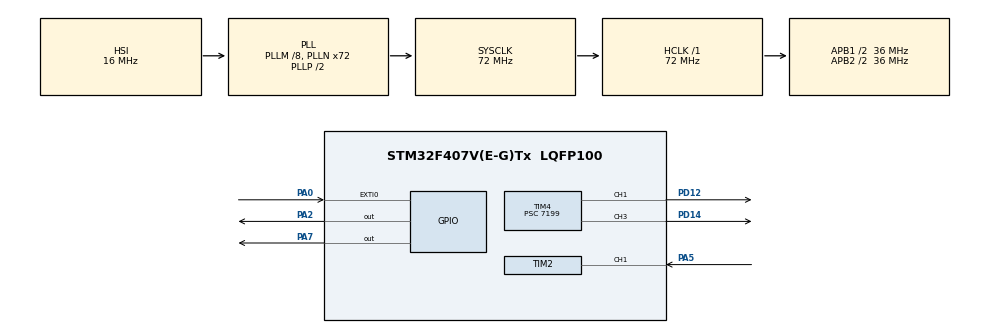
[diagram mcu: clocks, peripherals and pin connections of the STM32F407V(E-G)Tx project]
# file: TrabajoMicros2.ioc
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ADC1.Channel-0\#ChannelRegularConversion=ADC_CHANNEL_TEMPSENSOR
ADC1.ContinuousConvMode=DISABLE
ADC1.NbrOfConversionFlag=1
ADC1.Rank-0\#ChannelRegularConversion=1
ADC1.Resolution=ADC_RESOLUTION_8B
ADC1.SamplingTime-0\#ChannelRegularConversion=ADC_SAMPLETIME_3CYCLES
ADC1.ScanConvMode=DISABLE
ADC1.master=1
Mcu.Family=STM32F4
Mcu.Name=STM32F407V(E-G)Tx
Mcu.Package=LQFP100
NVIC.EXTI0_IRQn=true\:0\:0\:false\:false\:true\:true\:true\:true
NVIC.PriorityGroup=NVIC_PRIORITYGROUP_0
NVIC.TIM2_IRQn=true\:0\:0\:false\:false\:true\:true\:true\:true
PA0-WKUP.Signal=GPXTI0
PA2.Signal=GPIO_Output
PA5.Signal=S_TIM2_CH1_ETR
PA7.Signal=GPIO_Output
PD12.Signal=S_TIM4_CH1
PD14.Signal=S_TIM4_CH3
PH0-OSC_IN.Mode=HSE-External-Oscillator
PH0-OSC_IN.Signal=RCC_OSC_IN
PH1-OSC_OUT.Mode=HSE-External-Oscillator
PH1-OSC_OUT.Signal=RCC_OSC_OUT
ProjectManager.HeapSize=0x200
ProjectManager.StackSize=0x400
ProjectManager.TargetToolchain=STM32CubeIDE
RCC.48MHZClocksFreq_Value=20571428.57142857
RCC.AHBFreq_Value=72000000
RCC.APB1CLKDivider=RCC_HCLK_DIV2
RCC.APB1Freq_Value=36000000
RCC.APB1TimFreq_Value=72000000
RCC.APB2CLKDivider=RCC_HCLK_DIV2
RCC.APB2Freq_Value=36000000
RCC.APB2TimFreq_Value=72000000
RCC.CortexFreq_Value=72000000
RCC.HCLKFreq_Value=72000000
RCC.HSE_VALUE=8000000
RCC.HSI_VALUE=16000000
RCC.LSE_VALUE=32768
RCC.PLLM=8
RCC.PLLN=72
RCC.PLLQ=7
RCC.SYSCLKFreq_VALUE=72000000
RCC.SYSCLKSource=RCC_SYSCLKSOURCE_PLLCLK
RCC.VCOOutputFreq_Value=144000000
SH.S_TIM2_CH1_ETR.0=TIM2_CH1,Input_Capture1_from_TI1
SH.S_TIM4_CH1.0=TIM4_CH1,PWM Generation1 CH1
SH.S_TIM4_CH3.0=TIM4_CH3,PWM Generation3 CH3
TIM2.Channel-Input_Capture1_from_TI1=TIM_CHANNEL_1
TIM2.Period=19999
TIM2.Prescaler=71
TIM4.Channel-PWM\ Generation1\ CH1=TIM_CHANNEL_1
TIM4.Channel-PWM\ Generation3\ CH3=TIM_CHANNEL_3
TIM4.Period=9999
TIM4.Prescaler=7199
VP_ADC1_TempSens_Input.Mode=IN-TempSens
board=STM32F407G-DISC1

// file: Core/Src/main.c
/* USER CODE BEGIN Header */
/**
  ******************************************************************************
  * @file           : main.c
  * @brief          : Main program body
  ******************************************************************************
  * @attention
  *
  * Copyright (c) 2022 STMicroelectronics.
  * All rights reserved.
  *
  * This software is licensed under terms that can be found in the LICENSE file
  * in the root directory of this software component.
  * If no LICENSE file comes with this software, it is provided AS-IS.
  *
  ******************************************************************************
  */
/* USER CODE END Header */
#include "main.h"

ADC_HandleTypeDef hadc1;

TIM_HandleTypeDef htim2;
TIM_HandleTypeDef htim4;

void SystemClock_Config(void);
static void MX_GPIO_Init(void);
static void MX_TIM4_Init(void);
static void MX_TIM2_Init(void);
static void MX_ADC1_Init(void);

/* USER CODE BEGIN 0 */

//Variables globales del sensor ultrasonidos.
uint32_t IC_Val1 = 0;
uint32_t IC_Val2 = 0;
uint32_t Difference = 0;
uint8_t Is_First_Captured = 0;
uint8_t Distance  = 0;
int encendido=0;
uint32_t ten=0;

//Variables globales interrupción.
volatile int boton=0;

//Variables para la temperatura.
volatile uint32_t adcvalue;
float temp=0;

//Necesario para la lectura del sensor ultrasonidos. Con HalDelay se detiene
//Función para hacer el delay en el ultrasonidos.
void delay (uint16_t time)
{
	__HAL_TIM_SET_COUNTER(&htim2, 0);
	while (__HAL_TIM_GET_COUNTER (&htim2) < time);
}

//Código del funcionamiento del HC-SR04.
void HAL_TIM_IC_CaptureCallback(TIM_HandleTypeDef *htim) {
	if (htim->Channel == HAL_TIM_ACTIVE_CHANNEL_1)
	{
		if (Is_First_Captured==0)
		{
			IC_Val1 = HAL_TIM_ReadCapturedValue(htim, TIM_CHANNEL_1); //lee el primer valor
			Is_First_Captured = 1;  // selecciona la primera captura
			__HAL_TIM_SET_CAPTUREPOLARITY(htim, TIM_CHANNEL_1, TIM_INPUTCHANNELPOLARITY_FALLING);
		}

		else if (Is_First_Captured==1)   // si ha leido el primer valor
		{
			IC_Val2 = HAL_TIM_ReadCapturedValue(htim, TIM_CHANNEL_1);  // lee el segundo valor
			__HAL_TIM_SET_COUNTER(htim, 0);  // reset the counter

			if (IC_Val2 > IC_Val1)
			{
				Difference = IC_Val2-IC_Val1;
			}

			else if (IC_Val1 > IC_Val2)
			{
				Difference = (0xffff - IC_Val1) + IC_Val2;
			}

			Distance = Difference * .034/2;//conversion a centimetros
			Is_First_Captured = 0;
			__HAL_TIM_SET_CAPTUREPOLARITY(htim, TIM_CHANNEL_1, TIM_INPUTCHANNELPOLARITY_RISING);
			__HAL_TIM_DISABLE_IT(&htim2, TIM_IT_CC1);
		}
	}
}

//Función de lectura del ultrasonidos
void HCSR04_Read (void)
{
	HAL_GPIO_WritePin(GPIOA, GPIO_PIN_2, GPIO_PIN_SET); //Se envia pulso a la patilla trig del ultrasonidos
	delay(5);
	HAL_GPIO_WritePin(GPIOA, GPIO_PIN_2, GPIO_PIN_RESET);

	__HAL_TIM_ENABLE_IT(&htim2, TIM_IT_CC1);
}

void HAL_GPIO_EXTI_Callback(uint16_t GPIO_Pin){

	if (GPIO_Pin==GPIO_PIN_0)
	{
		boton=1;
	}
}

int debouncer(volatile int* button, GPIO_TypeDef* GPIO_port, uint16_t GPIO_number){
	static uint8_t button_count=0;
	static int cuenta=0;

	if (*button==1){
		if (button_count==0) {
			cuenta=HAL_GetTick();
			button_count++;
		}
		if (HAL_GetTick()-cuenta>=20){
			cuenta=HAL_GetTick();
			if (HAL_GPIO_ReadPin(GPIO_port, GPIO_number)!=1){
				button_count=1;
			}
			else{
				button_count++;
			}
			if (button_count==4){
				button_count=0;
				*button=0;
				return 1;
			}
		}

	}
	return 0;
}
/* USER CODE END 0 */

int main(void)
{

  /* MCU Configuration--------------------------------------------------------*/

  /* Reset of all peripherals, Initializes the Flash interface and the Systick. */
  HAL_Init();

  /* Configure the system clock */
  SystemClock_Config();

  /* Initialize all configured peripherals */
  MX_GPIO_Init();
  MX_TIM4_Init();
  MX_TIM2_Init();
  MX_ADC1_Init();
  /* USER CODE BEGIN 2 */
  HAL_TIM_IC_Start_IT(&htim2, TIM_CHANNEL_1);
  HAL_TIM_PWM_Start(&htim4, TIM_CHANNEL_1);
  HAL_TIM_PWM_Start(&htim4, TIM_CHANNEL_3);
  //HAL_ADC_Start(&hadc1);
  /* USER CODE END 2 */

  /* Infinite loop */
  while (1)
  {

    /* USER CODE BEGIN 3 */
	  HCSR04_Read(); //Lee el valor del ultrasonidos
	  HAL_Delay(100);

	  if(Distance<10)
	  {
		  ten=HAL_GetTick();
	  	   __HAL_TIM_SET_COMPARE(&htim4, TIM_CHANNEL_1, 9999);
	  	  //encendido=1;
	  }
	  else if((HAL_GetTick()-ten)>10000){
		   __HAL_TIM_SET_COMPARE(&htim4, TIM_CHANNEL_1, 0);
	  }
	  if (debouncer(&boton, GPIOA, GPIO_PIN_0)){
		  encendido=1;
	  	  HAL_GPIO_TogglePin(GPIOA, GPIO_PIN_7);
	  }
	  HAL_ADC_Start(&hadc1);
	  if(HAL_ADC_PollForConversion(&hadc1, HAL_MAX_DELAY) == HAL_OK)
	  {
	  	  adcvalue=HAL_ADC_GetValue(&hadc1);
	  	  //La temperatura la hemos convertido de Fahrenheit a Celsius.
	  	  temp=(((float)adcvalue)-32)/1.8;
	  }
	  //Lo hemos puesto a 20 para no subir demasiado la temperatura y no dañar la placa.
	  	  if(temp>20)
	  	  __HAL_TIM_SET_COMPARE(&htim4, TIM_CHANNEL_3, 6666);
	  	  else
	  	  __HAL_TIM_SET_COMPARE(&htim4, TIM_CHANNEL_3, 0);

  }
  /* USER CODE END 3 */
}

void SystemClock_Config(void)
{
  RCC_OscInitTypeDef RCC_OscInitStruct = {0};
  RCC_ClkInitTypeDef RCC_ClkInitStruct = {0};

  /** Configure the main internal regulator output voltage
  */
  __HAL_RCC_PWR_CLK_ENABLE();
  __HAL_PWR_VOLTAGESCALING_CONFIG(PWR_REGULATOR_VOLTAGE_SCALE1);

  /** Initializes the RCC Oscillators according to the specified parameters
  * in the RCC_OscInitTypeDef structure.
  */
  RCC_OscInitStruct.OscillatorType = RCC_OSCILLATORTYPE_HSI;
  RCC_OscInitStruct.HSIState = RCC_HSI_ON;
  RCC_OscInitStruct.HSICalibrationValue = RCC_HSICALIBRATION_DEFAULT;
  RCC_OscInitStruct.PLL.PLLState = RCC_PLL_ON;
  RCC_OscInitStruct.PLL.PLLSource = RCC_PLLSOURCE_HSI;
  RCC_OscInitStruct.PLL.PLLM = 8;
  RCC_OscInitStruct.PLL.PLLN = 72;
  RCC_OscInitStruct.PLL.PLLP = RCC_PLLP_DIV2;
  RCC_OscInitStruct.PLL.PLLQ = 7;
  if (HAL_RCC_OscConfig(&RCC_OscInitStruct) != HAL_OK)
  {
    Error_Handler();
  }

  /** Initializes the CPU, AHB and APB buses clocks
  */
  RCC_ClkInitStruct.ClockType = RCC_CLOCKTYPE_HCLK|RCC_CLOCKTYPE_SYSCLK
                              |RCC_CLOCKTYPE_PCLK1|RCC_CLOCKTYPE_PCLK2;
  RCC_ClkInitStruct.SYSCLKSource = RCC_SYSCLKSOURCE_PLLCLK;
  RCC_ClkInitStruct.AHBCLKDivider = RCC_SYSCLK_DIV1;
  RCC_ClkInitStruct.APB1CLKDivider = RCC_HCLK_DIV2;
  RCC_ClkInitStruct.APB2CLKDivider = RCC_HCLK_DIV2;

  if (HAL_RCC_ClockConfig(&RCC_ClkInitStruct, FLASH_LATENCY_2) != HAL_OK)
  {
    Error_Handler();
  }
}

static void MX_ADC1_Init(void)
{

  ADC_ChannelConfTypeDef sConfig = {0};

  /** Configure the global features of the ADC (Clock, Resolution, Data Alignment and number of conversion)
  */
  hadc1.Instance = ADC1;
  hadc1.Init.ClockPrescaler = ADC_CLOCK_SYNC_PCLK_DIV2;
  hadc1.Init.Resolution = ADC_RESOLUTION_8B;
  hadc1.Init.ScanConvMode = DISABLE;
  hadc1.Init.ContinuousConvMode = DISABLE;
  hadc1.Init.DiscontinuousConvMode = DISABLE;
  hadc1.Init.ExternalTrigConvEdge = ADC_EXTERNALTRIGCONVEDGE_NONE;
  hadc1.Init.ExternalTrigConv = ADC_SOFTWARE_START;
  hadc1.Init.DataAlign = ADC_DATAALIGN_RIGHT;
  hadc1.Init.NbrOfConversion = 1;
  hadc1.Init.DMAContinuousRequests = DISABLE;
  hadc1.Init.EOCSelection = ADC_EOC_SINGLE_CONV;
  if (HAL_ADC_Init(&hadc1) != HAL_OK)
  {
    Error_Handler();
  }

  /** Configure for the selected ADC regular channel its corresponding rank in the sequencer and its sample time.
  */
  sConfig.Channel = ADC_CHANNEL_TEMPSENSOR;
  sConfig.Rank = 1;
  sConfig.SamplingTime = ADC_SAMPLETIME_3CYCLES;
  if (HAL_ADC_ConfigChannel(&hadc1, &sConfig) != HAL_OK)
  {
    Error_Handler();
  }

}

static void MX_TIM2_Init(void)
{

  TIM_MasterConfigTypeDef sMasterConfig = {0};
  TIM_IC_InitTypeDef sConfigIC = {0};

  htim2.Instance = TIM2;
  htim2.Init.Prescaler = 71;
  htim2.Init.CounterMode = TIM_COUNTERMODE_UP;
  htim2.Init.Period = 19999;
  htim2.Init.ClockDivision = TIM_CLOCKDIVISION_DIV1;
  htim2.Init.AutoReloadPreload = TIM_AUTORELOAD_PRELOAD_DISABLE;
  if (HAL_TIM_IC_Init(&htim2) != HAL_OK)
  {
    Error_Handler();
  }
  sMasterConfig.MasterOutputTrigger = TIM_TRGO_RESET;
  sMasterConfig.MasterSlaveMode = TIM_MASTERSLAVEMODE_DISABLE;
  if (HAL_TIMEx_MasterConfigSynchronization(&htim2, &sMasterConfig) != HAL_OK)
  {
    Error_Handler();
  }
  sConfigIC.ICPolarity = TIM_INPUTCHANNELPOLARITY_RISING;
  sConfigIC.ICSelection = TIM_ICSELECTION_DIRECTTI;
  sConfigIC.ICPrescaler = TIM_ICPSC_DIV1;
  sConfigIC.ICFilter = 0;
  if (HAL_TIM_IC_ConfigChannel(&htim2, &sConfigIC, TIM_CHANNEL_1) != HAL_OK)
  {
    Error_Handler();
  }

}

static void MX_TIM4_Init(void)
{

  TIM_MasterConfigTypeDef sMasterConfig = {0};
  TIM_OC_InitTypeDef sConfigOC = {0};

  htim4.Instance = TIM4;
  htim4.Init.Prescaler = 7199;
  htim4.Init.CounterMode = TIM_COUNTERMODE_UP;
  htim4.Init.Period = 9999;
  htim4.Init.ClockDivision = TIM_CLOCKDIVISION_DIV1;
  htim4.Init.AutoReloadPreload = TIM_AUTORELOAD_PRELOAD_DISABLE;
  if (HAL_TIM_PWM_Init(&htim4) != HAL_OK)
  {
    Error_Handler();
  }
  sMasterConfig.MasterOutputTrigger = TIM_TRGO_RESET;
  sMasterConfig.MasterSlaveMode = TIM_MASTERSLAVEMODE_DISABLE;
  if (HAL_TIMEx_MasterConfigSynchronization(&htim4, &sMasterConfig) != HAL_OK)
  {
    Error_Handler();
  }
  sConfigOC.OCMode = TIM_OCMODE_PWM1;
  sConfigOC.Pulse = 0;
  sConfigOC.OCPolarity = TIM_OCPOLARITY_HIGH;
  sConfigOC.OCFastMode = TIM_OCFAST_DISABLE;
  if (HAL_TIM_PWM_ConfigChannel(&htim4, &sConfigOC, TIM_CHANNEL_1) != HAL_OK)
  {
    Error_Handler();
  }
  if (HAL_TIM_PWM_ConfigChannel(&htim4, &sConfigOC, TIM_CHANNEL_3) != HAL_OK)
  {
    Error_Handler();
  }
  HAL_TIM_MspPostInit(&htim4);

}

static void MX_GPIO_Init(void)
{
  GPIO_InitTypeDef GPIO_InitStruct = {0};

  /* GPIO Ports Clock Enable */
  __HAL_RCC_GPIOH_CLK_ENABLE();
  __HAL_RCC_GPIOA_CLK_ENABLE();
  __HAL_RCC_GPIOD_CLK_ENABLE();

  /*Configure GPIO pin Output Level */
  HAL_GPIO_WritePin(GPIOA, GPIO_PIN_2|GPIO_PIN_7, GPIO_PIN_RESET);

  /*Configure GPIO pin : PA0 */
  GPIO_InitStruct.Pin = GPIO_PIN_0;
  GPIO_InitStruct.Mode = GPIO_MODE_IT_RISING;
  GPIO_InitStruct.Pull = GPIO_NOPULL;
  HAL_GPIO_Init(GPIOA, &GPIO_InitStruct);

  /*Configure GPIO pins : PA2 PA7 */
  GPIO_InitStruct.Pin = GPIO_PIN_2|GPIO_PIN_7;
  GPIO_InitStruct.Mode = GPIO_MODE_OUTPUT_PP;
  GPIO_InitStruct.Pull = GPIO_NOPULL;
  GPIO_InitStruct.Speed = GPIO_SPEED_FREQ_LOW;
  HAL_GPIO_Init(GPIOA, &GPIO_InitStruct);

  /* EXTI interrupt init*/
  HAL_NVIC_SetPriority(EXTI0_IRQn, 0, 0);
  HAL_NVIC_EnableIRQ(EXTI0_IRQn);

}

void Error_Handler(void)
{
  __disable_irq();
  while (1)
  {
  }
}
